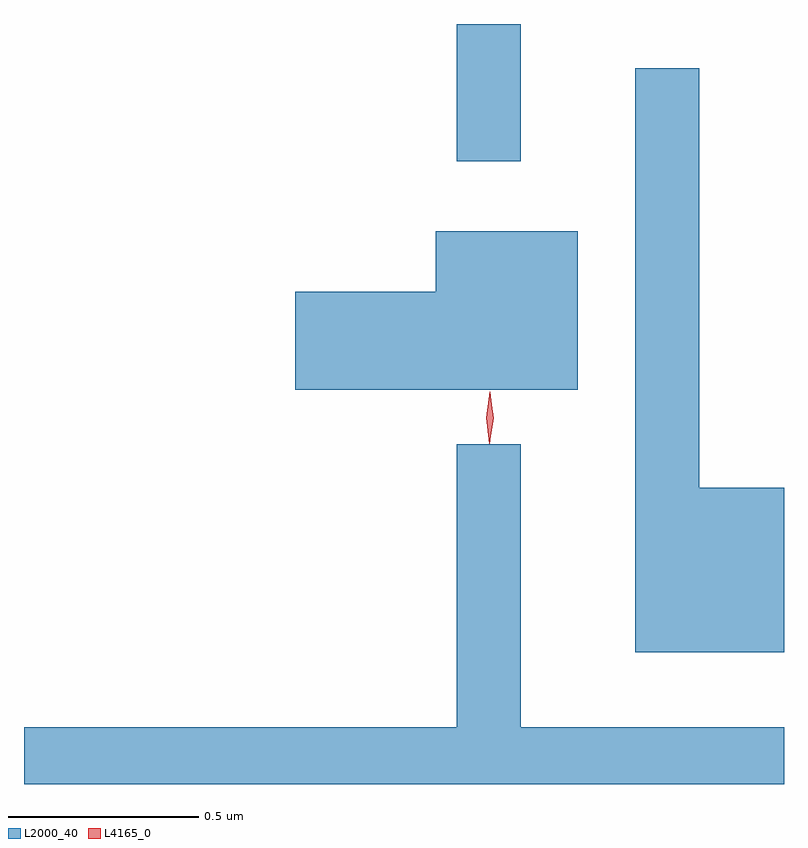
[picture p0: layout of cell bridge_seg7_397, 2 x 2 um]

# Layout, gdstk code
import gdstk
lib = gdstk.Library(unit=1e-6, precision=1e-09)
def R(c, l, rs):  # rectangles x0, y0, x1, y1
    for r in rs: c.add(gdstk.rectangle(r[:2], r[2:], *l))
def P(c, l, *ps):  # polygons
    for p in ps: c.add(gdstk.Polygon(p, *l))
L2000_40 = (2000, 40)
L4165_0 = (4165, 0)

bridge_seg7_397 = lib.new_cell('bridge_seg7_397')
R(bridge_seg7_397, L2000_40, [(1067.091,1795.993,1067.259,1796.354)])
P(bridge_seg7_397, L2000_40, [(1067.952,1795.134),(1067.729,1795.134),(1067.729,1796.238),(1067.561,1796.238),(1067.561,1794.701),(1067.952,1794.701)],
  [(1067.409,1795.809),(1067.036,1795.809),(1067.036,1795.649),(1066.666,1795.649),(1066.666,1795.391),(1067.409,1795.391)],
  [(1067.952,1794.504),(1067.259,1794.504),(1067.259,1795.248),(1067.091,1795.248),(1067.091,1794.504),(1065.952,1794.504),(1065.952,1794.354),(1067.952,1794.354)])
P(bridge_seg7_397, L4165_0, [(1067.176,1795.25),(1067.168,1795.318),(1067.178,1795.386),(1067.178,1795.386),(1067.179,1795.386),(1067.187,1795.318),(1067.177,1795.25),(1067.177,1795.25)],
  [(1067.176,1795.253),(1067.168,1795.316),(1067.178,1795.379),(1067.179,1795.38),(1067.179,1795.379),(1067.188,1795.316),(1067.177,1795.253),(1067.177,1795.253)])

lib.write_gds('bridge_seg7_397.gds')
